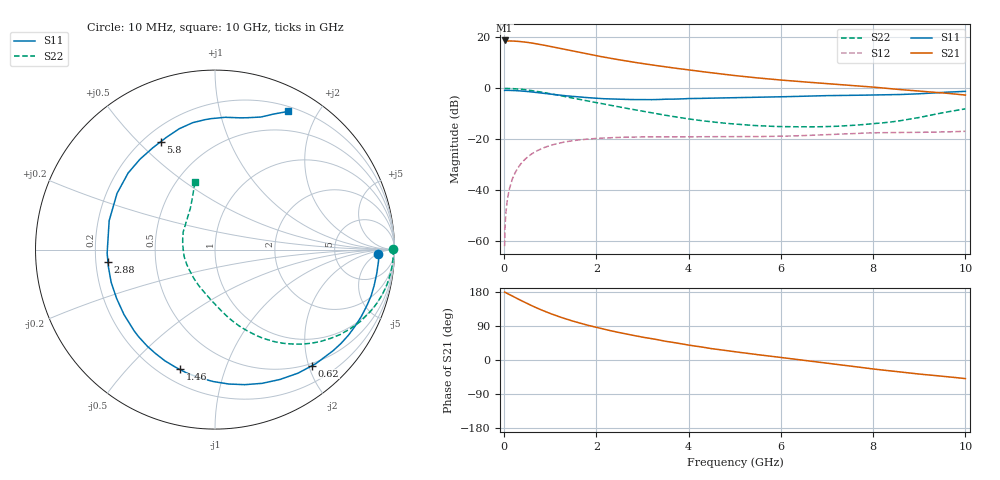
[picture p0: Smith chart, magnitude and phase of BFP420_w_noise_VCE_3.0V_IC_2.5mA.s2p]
! Infineon Technologies  Discrete & RF Semiconductors
! BFP420
! VCE =  3.0 V,  IC =  2.5 mA
! Common Emitter S-Parameters:  Jan 2016
# GHz  S  MA  R  50
!  f  S11  S21  S12  S22
! GHz  MAG  ANG  MAG  ANG  MAG  ANG  MAG  ANG
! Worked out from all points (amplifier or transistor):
!   233 points, 10 MHz to 10 GHz, reference 50 ohm
!   highest |S21| = 18.8 dB at 10 MHz (marker M1)
!   |S21| within 3 dB of that: start of sweep to 1.177 GHz
!   unconditionally stable (mu >= 1): 3.683 GHz to end of sweep
!   at 200 MHz: K = 0.04, MSG = 26.6 dB, |S12| = -34.6 dB
!   at 1.74 GHz: K = 0.40, MSG = 16.9 dB, |S12| = -20.1 dB
!   at 10 GHz: K = 1.19, MAG = 4.5 dB, |S12| = -16.9 dB
!   lowest NFmin = 0.55 dB at 900 MHz
!   S11 on the Smith chart (normalised r, x): 10 MHz: 19, -5; 620 MHz: 0.46, -2.06; 1.46 GHz: 0.27, -0.71; 2.88 GHz: 0.25, -0.05; 5.8 GHz: 0.27, +0.59; 10 GHz: 0.26, +1.63
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0.01  0.9082 -1.5  8.679 179.3  0.0008 79.3  0.9931 0.1
0.02  0.9127 -1.6  8.439 178.9  0.0019 81.7  0.994 -0.9
0.04  0.9129 -3.3  8.46 177.4  0.0038 86.7  0.9938 -1.8
0.14  0.9094 -11.5  8.491 171.1  0.0131 83.0  0.9893 -6.4
0.3  0.8961 -24.6  8.34 161.0  0.0275 76.2  0.97 -13.7
0.4  0.8833 -32.7  8.17 155.0  0.0362 71.7  0.951 -18.1
0.62  0.8434 -50.0  7.675 142.1  0.0532 62.3  0.8963 -27.2
0.8  0.8091 -63.4  7.186 132.5  0.0649 55.6  0.8441 -34.0
1  0.7705 -77.6  6.638 122.7  0.0757 48.8  0.7828 -40.7
1.2  0.7353 -90.7  6.087 113.9  0.0843 42.7  0.7226 -46.7
1.46  0.6957 -106.4  5.441 103.8  0.0928 36.0  0.6502 -53.5
1.68  0.6688 -118.8  4.964 96.0  0.0982 31.0  0.5948 -58.5
1.9  0.6477 -130.3  4.531 88.9  0.1024 26.7  0.5444 -63.2
2.2  0.6228 -144.6  4.035 80.2  0.1064 21.7  0.4844 -68.6
2.88  0.6003 -173.5  3.177 63.1  0.1108 12.6  0.3719 -80.5
3.4  0.605 168.1  2.71 51.8  0.1117 7.5  0.3069 -89.7
4.5  0.6453 138.6  2.013 29.9  0.1126 0.3  0.2197 -114.5
5.1  0.6554 128.0  1.739 20.3  0.1128 -2.0  0.1954 -128.7
5.8  0.6732 116.6  1.507 9.7  0.1139 -3.7  0.1791 -147.4
6.8  0.7105 102.6  1.275 -5.3  0.1212 -6.1  0.1757 -175.2
8.4  0.7472 79.3  0.977 -29.3  0.1353 -15.1  0.2192 138.1
10  0.8711 62.1  0.737 -49.1  0.1432 -21.6  0.3954 106.4
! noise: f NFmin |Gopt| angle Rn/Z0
0.9  0.55  0.41  33  0.2
1.8  1.02  0.24  78  0.16
2.4  1.11  0.26  103  0.15
3  1.28  0.27  140  0.11
4  1.5  0.34  -163  0.1
5  1.85  0.4  -130  0.26
6  2.56  0.5  -109  0.35
